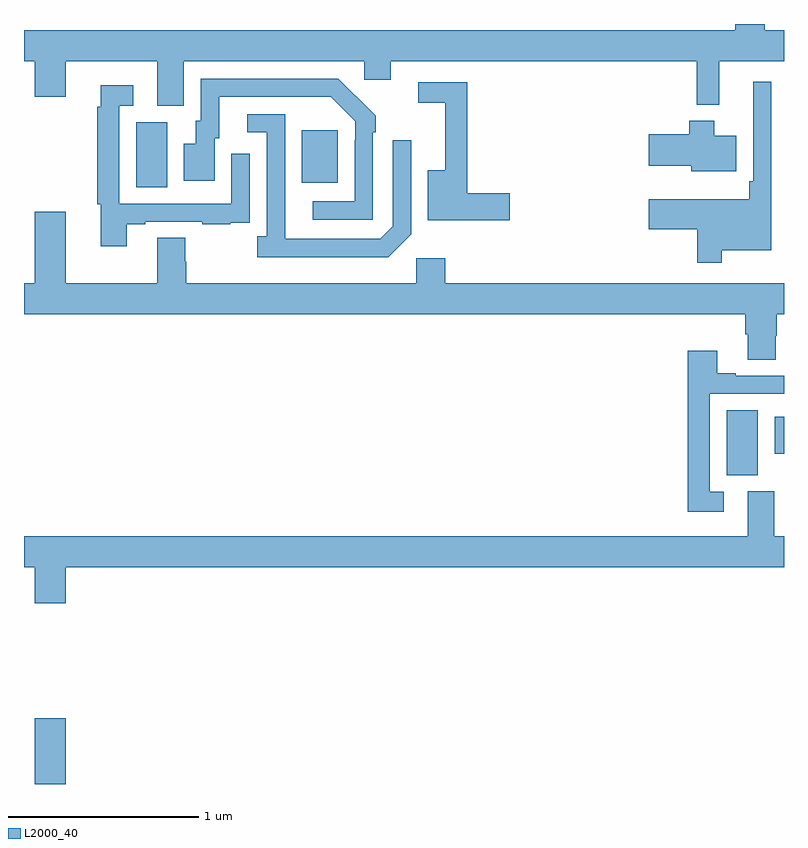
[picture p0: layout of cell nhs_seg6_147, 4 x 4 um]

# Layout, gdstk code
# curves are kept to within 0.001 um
import gdstk
lib = gdstk.Library(unit=1e-6, precision=1e-09)
def R(c, l, rs):  # rectangles x0, y0, x1, y1
    for r in rs: c.add(gdstk.rectangle(r[:2], r[2:], *l))
def P(c, l, *ps):  # polygons
    for p in ps: c.add(gdstk.Polygon(p, *l))
L2000_40 = (2000, 40)

nhs_seg6_147 = lib.new_cell('nhs_seg6_147')
R(nhs_seg6_147, L2000_40, [(117.056,975.5,117.22,975.847), (120.698,977.125,120.862,977.468), (120.95,977.237,121,977.434), (117.59,978.64,117.754,978.984), (118.463,978.665,118.651,978.94)])
P(nhs_seg6_147, L2000_40, [(117.841,979.304),(118.791,979.304),(118.791,979.206),(118.93,979.206),(118.93,979.304),(120.541,979.304),(120.541,979.076),(120.659,979.076),(120.659,979.304),(121,979.304),(121,979.468),(120.899,979.468),(120.899,979.5),(120.743,979.5),(120.743,979.468),(117,979.468),(117,979.304),(117.056,979.304),(117.056,979.116),(117.22,979.116),(117.22,979.304),(117.701,979.304),(117.701,979.069),(117.841,979.069)],
  [(118.836,978.929),(118.851,978.929),(118.851,979.017),(118.654,979.212),(117.93,979.212),(117.93,978.99),(117.905,978.99),(117.905,978.871),(117.842,978.871),(117.842,978.675),(118.003,978.675),(118.003,978.9),(118.027,978.9),(118.027,979.116),(118.615,979.116),(118.743,978.987),(118.743,978.887),(118.74,978.887),(118.74,978.567),(118.521,978.567),(118.521,978.471),(118.836,978.471)],
  [(120.673,978.308),(120.934,978.308),(120.934,979.195),(120.837,979.195),(120.837,978.673),(120.817,978.673),(120.817,978.577),(120.288,978.577),(120.288,978.419),(120.544,978.419),(120.544,978.243),(120.673,978.243)],
  [(119.557,978.608),(119.333,978.608),(119.333,979.194),(119.076,979.194),(119.076,979.086),(119.216,979.086),(119.216,978.73),(119.126,978.73),(119.126,978.466),(119.557,978.466)],
  [(117.541,978.447),(117.637,978.447),(117.637,978.459),(117.937,978.459),(117.937,978.447),(118.085,978.447),(118.085,978.453),(118.187,978.453),(118.187,978.562),(118.188,978.562),(118.188,978.817),(118.092,978.817),(118.092,978.555),(117.501,978.555),(117.501,979.071),(117.574,979.071),(117.574,979.177),(117.404,979.177),(117.404,979.064),(117.385,979.064),(117.385,978.552),(117.404,978.552),(117.404,978.33),(117.541,978.33)],
  [(119.037,978.393),(119.037,978.889),(118.941,978.889),(118.941,978.435),(118.875,978.369),(118.375,978.369),(118.374,979.026),(118.176,979.026),(118.176,978.93),(118.278,978.93),(118.278,978.382),(118.227,978.382),(118.227,978.272),(118.916,978.272)],
  [(120.748,978.913),(120.634,978.913),(120.634,978.991),(120.5,978.991),(120.5,978.921),(120.288,978.921),(120.288,978.755),(120.512,978.755),(120.512,978.725),(120.748,978.725)],
  [(120.957,977.859),(120.962,977.859),(120.962,977.972),(121,977.972),(121,978.136),(119.216,978.136),(119.216,978.268),(119.064,978.268),(119.064,978.136),(117.854,978.136),(117.854,978.249),(117.849,978.249),(117.849,978.374),(117.701,978.374),(117.701,978.136),(117.22,978.136),(117.22,978.511),(117.056,978.511),(117.056,978.136),(117,978.136),(117,977.972),(120.797,977.972),(120.797,977.866),(120.809,977.866),(120.809,977.734),(120.957,977.734)],
  [(120.682,977.037),(120.609,977.037),(120.609,977.553),(121,977.553),(121,977.649),(120.745,977.649),(120.745,977.662),(120.649,977.662),(120.649,977.779),(120.493,977.779),(120.493,976.932),(120.682,976.932)],
  [(117.22,976.64),(121,976.64),(121,976.804),(120.949,976.804),(120.949,977.04),(120.809,977.04),(120.809,976.804),(117,976.804),(117,976.64),(117.056,976.64),(117.056,976.452),(117.22,976.452)])

lib.write_gds('nhs_seg6_147.gds')
